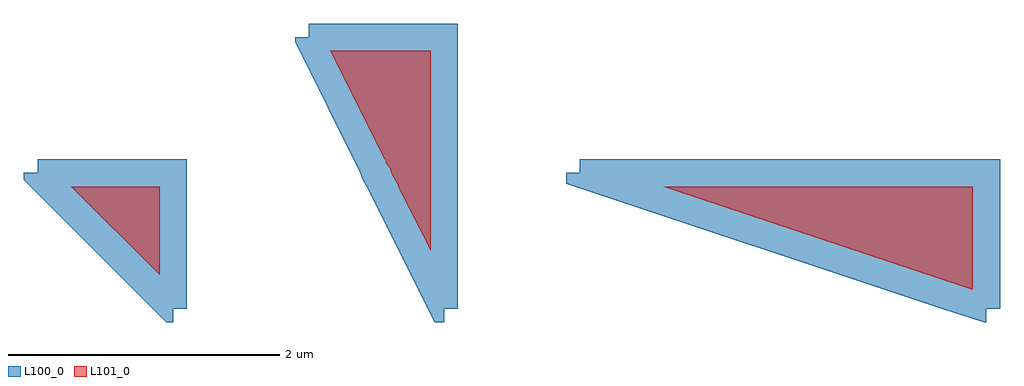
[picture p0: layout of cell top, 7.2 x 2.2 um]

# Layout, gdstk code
import gdstk
lib = gdstk.Library(unit=1e-6, precision=1e-09)
def R(c, l, rs):  # rectangles x0, y0, x1, y1
    for r in rs: c.add(gdstk.rectangle(r[:2], r[2:], *l))
def P(c, l, *ps):  # polygons
    for p in ps: c.add(gdstk.Polygon(p, *l))
L100_0 = (100, 0)
L101_0 = (101, 0)

top = lib.new_cell('top')
R(top, L100_0, [(0.95,-0.1,1,0), (2.93,-0.1,3,0), (6.98,-0.1,7,0), (0.95,0,1.1,0.95), (2.88,0,3.1,0.9), (6.67,0,7.1,0.92), (2.43,0.9,3.1,0.95), (3.9,0.92,7.1,1), (-0.1,0.95,1.1,1), (2.4,0.95,3.1,0.97), (2.39,0.97,3.1,1), (0,1,1.1,1.1), (2.38,1,3.1,1.97), (4,1,7.1,1.1), (1.9,1.97,3.1,2), (2,2,3.1,2.1)])
P(top, L100_0, [(1.9,1.97),(2.38,1.97),(2.38,1)],
  [(2.38,1),(2.39,1),(2.39,0.97)],
  [(2.39,0.97),(2.4,0.97),(2.4,0.95)],
  [(-0.1,0.95),(0.95,0.95),(0.95,-0.1)],
  [(2.4,0.95),(2.43,0.95),(2.43,0.9)],
  [(2.43,0.9),(2.88,0.9),(2.88,0)],
  [(3.9,0.92),(6.67,0.92),(6.67,0)],
  [(2.88,0),(2.93,0),(2.93,-0.1)],
  [(6.67,0),(6.98,0),(6.98,-0.1)])
R(top, L101_0, [(2.66,0.9,2.9,1), (2.61,1,2.9,1.03), (2.6,1.03,2.9,1.08), (2.57,1.08,2.9,1.1), (2.56,1.1,2.9,1.9)])
P(top, L101_0, [(2.16,1.9),(2.56,1.9),(2.56,1.1)],
  [(2.57,1.08),(2.6,1.08),(2.6,1.03)],
  [(2.6,1.03),(2.61,1.03),(2.61,1.01)],
  [(2.61,1),(2.66,1),(2.66,0.91)],
  [(0.25,0.9),(0.9,0.9),(0.9,0.25)],
  [(2.66,0.9),(2.9,0.9),(2.9,0.43)],
  [(4.62,0.9),(6.9,0.9),(6.9,0.14)])

lib.write_gds('top.gds')
